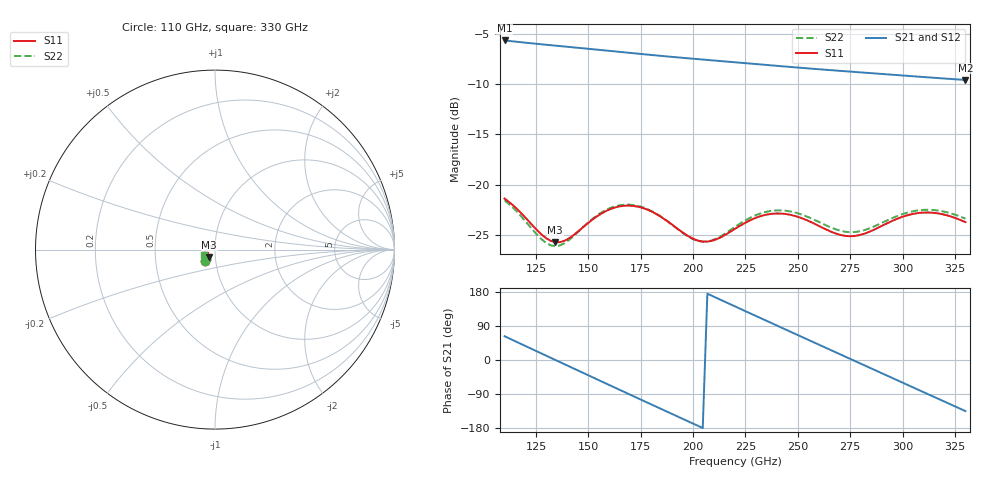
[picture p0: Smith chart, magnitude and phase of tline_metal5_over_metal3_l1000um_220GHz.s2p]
#  GHZ S DB R 50
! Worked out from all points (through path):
!   101 points, 110 GHz to 330 GHz, reference 50 ohm
!   highest |S21| = -5.64 dB at 110 GHz (marker M1); lowest = -9.6 dB at 330 GHz (marker M2)
!   group delay of S21, straight-line fit = 7.03 ps
!   lowest |S11| = -25.7 dB at 134.2 GHz (marker M3), VSWR 1.11, Z = 46.7 - j3.78 ohm
!   |S11| at or under -10 dB: start of sweep to end of sweep
!   |S22| runs from -26.1 to -21.6 dB; largest |S21 - S12| = 5.8e-14
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110  -21.40 -130.9  -5.64 62.7  -5.64 62.7  -21.59 -130.1
123.2  -24.04 -138.5  -5.93 28.6  -5.93 28.6  -24.46 -136.8
134.2  -25.75 -128.5  -6.15 0.2  -6.15 0.2  -26.14 -124.3
147.4  -24.27 -117.0  -6.42 -33.7  -6.42 -33.7  -24.26 -112.6
156.2  -22.89 -120.4  -6.59 -56.4  -6.59 -56.4  -22.79 -116.8
165  -22.17 -128.4  -6.78 -78.9  -6.78 -78.9  -22.06 -125.5
173.8  -22.22 -137.5  -6.96 -101.4  -6.96 -101.4  -22.13 -134.9
184.8  -23.24 -146.2  -7.18 -129.3  -7.18 -129.3  -23.22 -143.8
193.6  -24.56 -147.7  -7.34 -151.7  -7.34 -151.7  -24.60 -145.0
202.4  -25.60 -142.2  -7.50 -174.0  -7.50 -174.0  -25.63 -138.8
211.2  -25.45 -133.9  -7.66 163.8  -7.66 163.8  -25.38 -130.1
220  -24.42 -130.4  -7.81 141.5  -7.81 141.5  -24.22 -126.8
228.8  -23.42 -132.9  -7.97 119.2  -7.97 119.2  -23.15 -129.6
237.6  -22.92 -138.6  -8.12 97.0  -8.12 97.0  -22.62 -135.7
246.4  -23.02 -144.8  -8.28 74.8  -8.28 74.8  -22.68 -142.2
257.4  -23.85 -149.7  -8.46 47.2  -8.46 47.2  -23.47 -147.5
266.2  -24.73 -148.8  -8.60 25.1  -8.60 25.1  -24.32 -147.1
275  -25.15 -143.6  -8.74 3.0  -8.74 3.0  -24.75 -142.5
283.8  -24.74 -138.3  -8.88 -19.1  -8.88 -19.1  -24.40 -137.6
294.8  -23.65 -137.4  -9.05 -46.7  -9.05 -46.7  -23.37 -136.8
312.4  -22.79 -146.3  -9.32 -90.8  -9.32 -90.8  -22.51 -145.4
330  -23.74 -153.9  -9.57 -134.7  -9.57 -134.7  -23.40 -153.3
